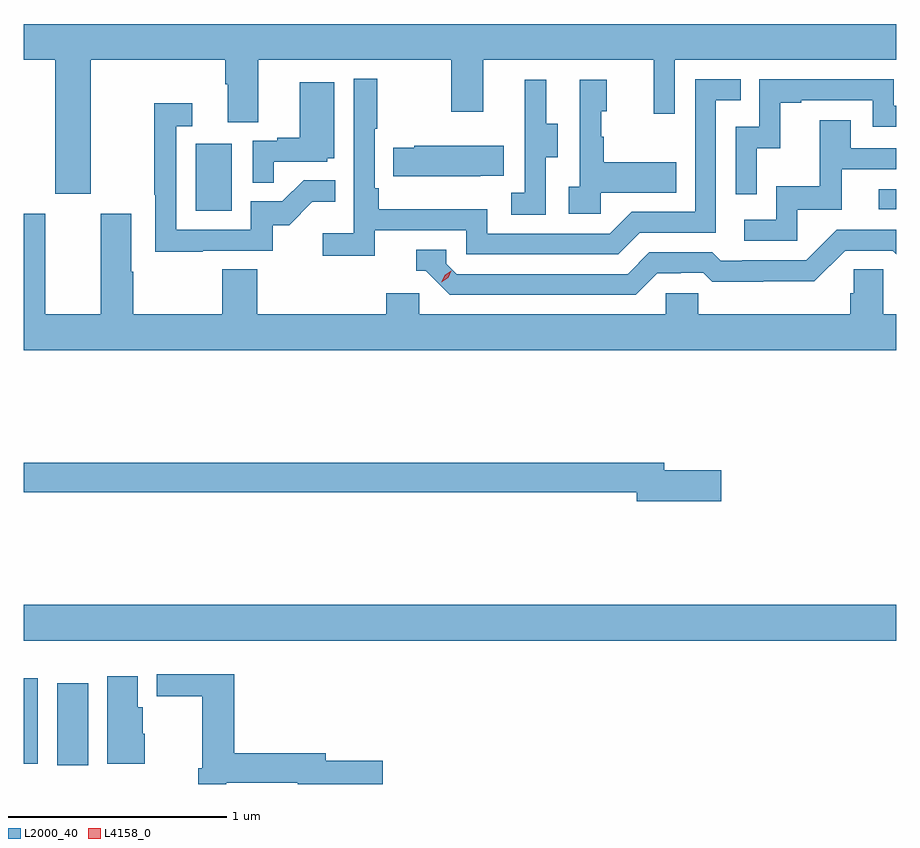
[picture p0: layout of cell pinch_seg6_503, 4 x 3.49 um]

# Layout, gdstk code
import gdstk
lib = gdstk.Library(unit=1e-6, precision=1e-09)
def R(c, l, rs):  # rectangles x0, y0, x1, y1
    for r in rs: c.add(gdstk.rectangle(r[:2], r[2:], *l))
def P(c, l, *ps):  # polygons
    for p in ps: c.add(gdstk.Polygon(p, *l))
L2000_40 = (2000, 40)
L4158_0 = (4158, 0)

pinch_seg6_503 = lib.new_cell('pinch_seg6_503')
R(pinch_seg6_503, L2000_40, [(877.748,922.788,877.891,923.164), (877.596,922.796,877.66,923.188), (877.596,923.36,881.596,923.524), (878.384,925.332,878.548,925.639), (881.517,925.338,881.596,925.431)])
P(pinch_seg6_503, L2000_40, [(877.903,926.024),(878.519,926.024),(878.519,925.912),(878.531,925.912),(878.531,925.738),(878.671,925.738),(878.671,926.024),(879.556,926.024),(879.556,925.785),(879.703,925.785),(879.703,926.024),(880.484,926.024),(880.484,925.776),(880.581,925.776),(880.581,926.024),(881.596,926.024),(881.596,926.188),(877.596,926.188),(877.596,926.024),(877.739,926.024),(877.739,925.41),(877.903,925.41)],
  [(879.206,925.242),(879.624,925.242),(879.624,925.131),(880.321,925.131),(880.42,925.23),(880.77,925.23),(880.77,925.839),(880.883,925.839),(880.883,925.935),(880.674,925.935),(880.674,925.326),(880.383,925.326),(880.284,925.227),(879.72,925.227),(879.72,925.339),(879.224,925.339),(879.224,925.435),(879.204,925.435),(879.204,925.708),(879.217,925.708),(879.217,925.936),(879.108,925.936),(879.108,925.228),(878.967,925.228),(878.967,925.126),(879.206,925.126)],
  [(880.956,925.619),(881.066,925.619),(881.066,925.827),(881.161,925.827),(881.161,925.839),(881.49,925.839),(881.49,925.716),(881.596,925.716),(881.596,925.812),(881.586,925.812),(881.586,925.935),(880.968,925.935),(880.968,925.716),(880.86,925.716),(880.86,925.407),(880.956,925.407)],
  [(879.99,925.576),(880.045,925.576),(880.045,925.731),(879.991,925.731),(879.991,925.933),(879.893,925.933),(879.893,925.719),(879.894,925.719),(879.894,925.415),(879.831,925.415),(879.831,925.312),(879.99,925.312)],
  [(880.242,925.415),(880.589,925.415),(880.589,925.555),(880.255,925.555),(880.255,925.67),(880.245,925.67),(880.245,925.788),(880.27,925.788),(880.27,925.933),(880.146,925.933),(880.146,925.442),(880.095,925.442),(880.095,925.317),(880.242,925.317)],
  [(878.741,925.557),(878.988,925.557),(878.988,925.572),(879.019,925.572),(879.019,925.921),(878.861,925.921),(878.861,925.666),(878.757,925.666),(878.757,925.653),(878.646,925.653),(878.646,925.459),(878.741,925.459)],
  [(878.417,925.149),(878.736,925.149),(878.736,925.266),(878.812,925.266),(878.919,925.373),(879.023,925.373),(879.023,925.472),(878.879,925.472),(878.781,925.374),(878.637,925.374),(878.637,925.245),(878.295,925.245),(878.295,925.719),(878.368,925.719),(878.368,925.825),(878.194,925.825),(878.194,925.405),(878.199,925.405),(878.199,925.144),(878.417,925.144)],
  [(881.142,925.335),(881.347,925.335),(881.347,925.521),(881.596,925.521),(881.596,925.617),(881.389,925.617),(881.389,925.747),(881.245,925.747),(881.245,925.444),(881.046,925.444),(881.046,925.29),(880.899,925.29),(880.899,925.194),(881.142,925.194)],
  [(879.689,925.493),(879.797,925.493),(879.797,925.63),(879.387,925.63),(879.387,925.62),(879.289,925.62),(879.289,925.49),(879.689,925.49)],
  [(881.596,924.856),(881.538,924.856),(881.538,925.064),(881.401,925.064),(881.401,924.954),(881.387,924.954),(881.387,924.856),(880.689,924.856),(880.689,924.954),(880.539,924.954),(880.539,924.856),(879.408,924.856),(879.408,924.954),(879.257,924.954),(879.257,924.856),(878.666,924.856),(878.666,925.064),(878.506,925.064),(878.506,924.856),(878.097,924.856),(878.097,925.052),(878.089,925.052),(878.089,925.318),(877.949,925.318),(877.949,924.856),(877.693,924.856),(877.693,925.318),(877.596,925.318),(877.596,924.692),(881.596,924.692)],
  [(880.501,925.044),(880.608,925.044),(880.608,925.047),(880.711,925.047),(880.753,925.005),(880.986,925.005),(880.986,925.007),(881.222,925.007),(881.364,925.149),(881.58,925.149),(881.596,925.133),(881.596,925.245),(881.325,925.245),(881.184,925.104),(880.891,925.104),(880.891,925.101),(880.792,925.101),(880.753,925.14),(880.464,925.14),(880.365,925.041),(879.582,925.041),(879.534,925.089),(879.534,925.152),(879.395,925.152),(879.395,925.056),(879.438,925.056),(879.549,924.945),(880.402,924.945)],
  [(880.795,924.14),(880.534,924.14),(880.534,924.176),(877.596,924.176),(877.596,924.04),(880.406,924.04),(880.406,923.998),(880.795,923.998)],
  [(878.524,922.708),(878.852,922.708),(878.852,922.702),(879.241,922.702),(879.241,922.808),(878.98,922.808),(878.98,922.844),(878.561,922.844),(878.561,923.206),(878.205,923.206),(878.205,923.104),(878.414,923.104),(878.414,922.774),(878.395,922.774),(878.395,922.702),(878.524,922.702)],
  [(878.149,922.932),(878.14,922.932),(878.14,923.055),(878.119,923.055),(878.119,923.197),(877.979,923.197),(877.979,922.796),(878.149,922.796)])
P(pinch_seg6_503, L4158_0, [(879.511,925.003),(879.511,925.003),(879.526,925.036),(879.557,925.056),(879.557,925.056),(879.557,925.056),(879.541,925.023),(879.511,925.003)])

lib.write_gds('pinch_seg6_503.gds')
